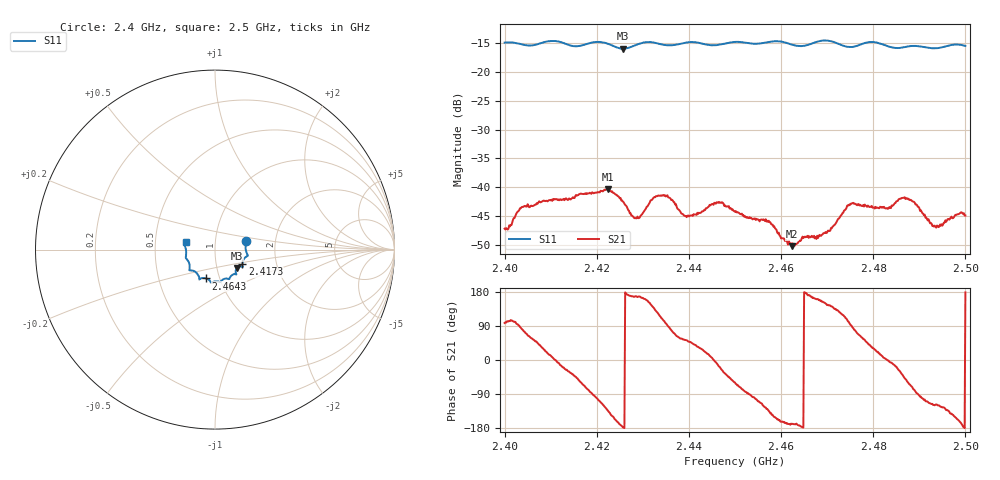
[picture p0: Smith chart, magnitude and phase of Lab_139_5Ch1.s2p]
# Hz S RI R 50
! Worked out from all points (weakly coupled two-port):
!   601 points, 2.4 GHz to 2.5 GHz, reference 50 ohm
!   highest |S21| = -40.33 dB at 2.4223 GHz (marker M1); lowest = -50.3 dB at 2.4623 GHz (marker M2)
!   lowest |S11| = -15.9 dB at 2.4257 GHz (marker M3), VSWR 1.38, Z = 62.4 - j13.1 ohm
!   |S11| at or under -10 dB: start of sweep to end of sweep
!   S12 and S22 are empty: the file has one direction only
!   S11 on the Smith chart (normalised r, x): 2.4 GHz: 1.41, +0.15; 2.4173 GHz: 1.34, -0.23; 2.4643 GHz: 0.86, -0.28; 2.5 GHz: 0.72, +0.06
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2.4e9  0.1735 0.0498  -0.000585 0.00431  0 0  0 0
2.403833e9  0.1721 0.0269  0.00111 0.00664  0 0  0 0
2.416667e9  0.1532 -0.0742  0.00436 -0.00759  0 0  0 0
2.417333e9  0.1527 -0.0817  0.00326 -0.00815  0 0  0 0
2.422333e9  0.1499 -0.0939  -0.00647 -0.00713  0 0  0 0
2.425667e9  0.1224 -0.1026  -0.00747 -0.000291  0 0  0 0
2.428833e9  0.1156 -0.1304  -0.00538 0.00134  0 0  0 0
2.433333e9  0.1127 -0.1364  -0.00453 0.00714  0 0  0 0
2.435667e9  0.0968 -0.1409  0.000474 0.00809  0 0  0 0
2.4395e9  0.0807 -0.1618  0.00339 0.00431  0 0  0 0
2.446e9  0.0471 -0.165  0.00731 -0.00106  0 0  0 0
2.45e9  0.0295 -0.1807  0.0031 -0.00526  0 0  0 0
2.457167e9  -0.0146 -0.1816  -0.00332 -0.00372  0 0  0 0
2.462333e9  -0.0315 -0.1706  -0.00301 -0.000595  0 0  0 0
2.464333e9  -0.0502 -0.1606  -0.00343 -0.000253  0 0  0 0
2.466667e9  -0.0764 -0.1598  -0.00367 0.000859  0 0  0 0
2.470333e9  -0.0873 -0.1656  -0.00339 0.00244  0 0  0 0
2.475167e9  -0.1083 -0.1248  -0.000199 0.00719  0 0  0 0
2.483333e9  -0.141 -0.0897  0.00653 -0.000192  0 0  0 0
2.487667e9  -0.1592 -0.0524  0.00379 -0.00682  0 0  0 0
2.493667e9  -0.1611 -0.00553  -0.00203 -0.00395  0 0  0 0
2.5e9  -0.1635 0.0421  -0.00566 0.00015  0 0  0 0
